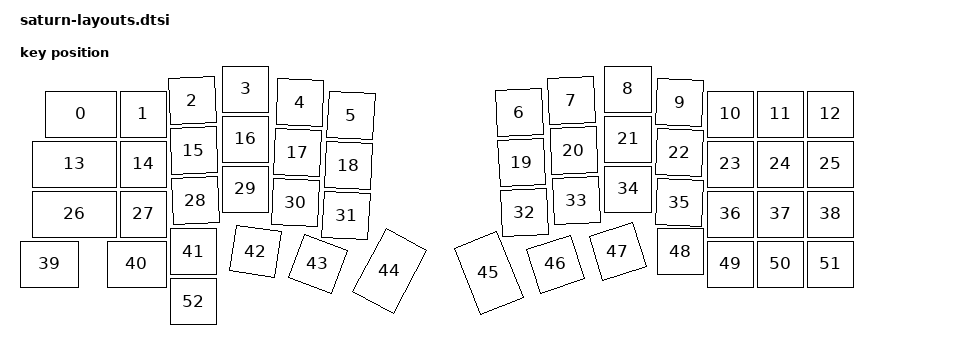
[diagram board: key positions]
#include <physical_layouts.dtsi>

/ {
    physical_layout_saturn: physical_layout_saturn {
        compatible = "zmk,physical-layout";
        display-name = "Saturn";
        keys  //                     w   h    x    y     rot    rx    ry
            = <&key_physical_attrs 150 100  125   50       0   125    50>
            , <&key_physical_attrs 100 100  275   50       0   275    50>
            , <&key_physical_attrs 100 100  372   25  (-200)   372    25>
            , <&key_physical_attrs 100 100  480    0       0   480     0>
            , <&key_physical_attrs 100 100  591   25     200   591    25>
            , <&key_physical_attrs 100 100  694   50     300   694    50>
            , <&key_physical_attrs 100 100 1025   50  (-300)  1025    50>
            , <&key_physical_attrs 100 100 1130   25  (-200)  1130    25>
            , <&key_physical_attrs 100 100 1245    0       0  1245     0>
            , <&key_physical_attrs 100 100 1350   25     200  1350    25>
            , <&key_physical_attrs 100 100 1450   50       0  1450    50>
            , <&key_physical_attrs 100 100 1550   50       0  1550    50>
            , <&key_physical_attrs 100 100 1650   50       0  1650    50>
            , <&key_physical_attrs 175 100  100  150       0   100   150>
            , <&key_physical_attrs 100 100  275  150       0   275   150>
            , <&key_physical_attrs 100 100  375  125  (-200)   375   125>
            , <&key_physical_attrs 100 100  480  100       0   480   100>
            , <&key_physical_attrs 100 100  586  125     200   586   125>
            , <&key_physical_attrs 100 100  689  150     300   689   150>
            , <&key_physical_attrs 100 100 1030  150  (-300)  1030   150>
            , <&key_physical_attrs 100 100 1135  125  (-200)  1135   125>
            , <&key_physical_attrs 100 100 1245  100       0  1245   100>
            , <&key_physical_attrs 100 100 1350  125     200  1350   125>
            , <&key_physical_attrs 100 100 1450  150       0  1450   150>
            , <&key_physical_attrs 100 100 1550  150       0  1550   150>
            , <&key_physical_attrs 100 100 1650  150       0  1650   150>
            , <&key_physical_attrs 175 100  100  250       0   100   250>
            , <&key_physical_attrs 100 100  275  250       0   275   250>
            , <&key_physical_attrs 100 100  378  225  (-200)   378   225>
            , <&key_physical_attrs 100 100  480  200       0   480   200>
            , <&key_physical_attrs 100 100  582  225     200   582   225>
            , <&key_physical_attrs 100 100  684  250     300   684   250>
            , <&key_physical_attrs 100 100 1035  250  (-300)  1035   250>
            , <&key_physical_attrs 100 100 1140  225  (-200)  1140   225>
            , <&key_physical_attrs 100 100 1245  200       0  1245   200>
            , <&key_physical_attrs 100 100 1350  225     200  1350   225>
            , <&key_physical_attrs 100 100 1450  250       0  1450   250>
            , <&key_physical_attrs 100 100 1550  250       0  1550   250>
            , <&key_physical_attrs 100 100 1650  250       0  1650   250>
            , <&key_physical_attrs 125 100   75  350       0    75   350>
            , <&key_physical_attrs 125 100  250  350       0   250   350>
            , <&key_physical_attrs 100 100  375  325       0   375   325>
            , <&key_physical_attrs 100 100  508  318     841   508   318>
            , <&key_physical_attrs 100 100  645  336    2004   645   336>
            , <&key_physical_attrs 150 100  739  456   29839   739   456>
            , <&key_physical_attrs 150 100 1035  330    6841  1035   330>
            , <&key_physical_attrs 100 100 1087  368   34206  1087   368>
            , <&key_physical_attrs 100 100 1212  342   34287  1212   342>
            , <&key_physical_attrs 100 100 1350  325       0  1350   325>
            , <&key_physical_attrs 100 100 1450  350       0  1450   350>
            , <&key_physical_attrs 100 100 1550  350       0  1550   350>
            , <&key_physical_attrs 100 100 1650  350       0  1650   350>
            , <&key_physical_attrs 100 100  375  425       0   375   425>
            ;
    };
};
